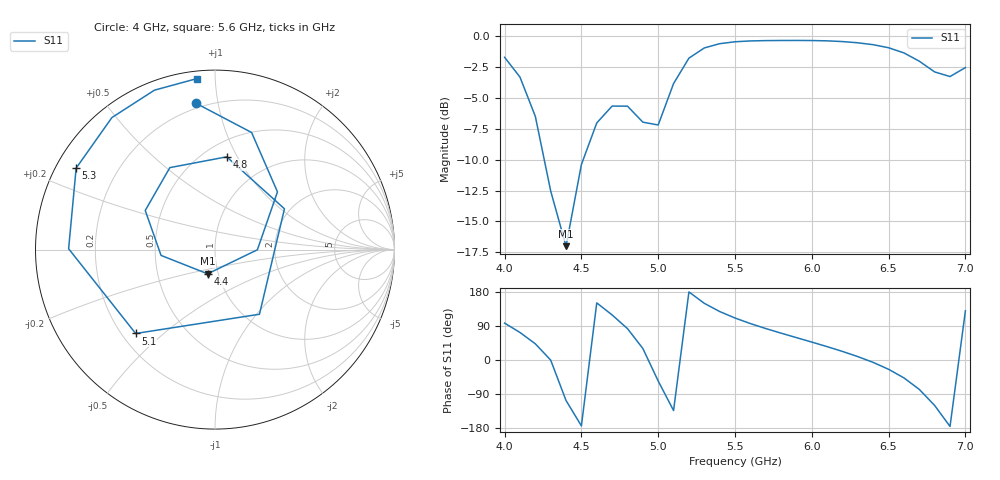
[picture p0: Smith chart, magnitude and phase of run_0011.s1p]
! Touchstone file exported from HFSS 2024.2.0
!  File:  C:/Users/wsak9/Desktop/Sim Fast/Widenad Patch/WP_AI_V1_sweep.aedt
!  Generated:  03:10:27 PM Oct 13, 2026
!  Design:  A1_model
!  Project:  WP_AI_V1_sweep
!  Setup:  Setup1
!  Solution:  Sweep
! Variables:
!  Air_gap = 4.68mm
!  Curve_Amp1 = 2.89
!  Curve_len1 = 1
!  Curve_pos = 12.8mm
!  Extra = 2.96mm
!  H_sub = 0.79mm
!  L_Patch = 21.6mm
!  L_Patch1 = 17.75mm
!  Sx = 2.32mm
!  Sy = 1.04mm
!  WS = 0.41mm
!  W_Patch = 10.42mm
!  W_Patch1 = 14.79mm
!Data is not renormalized
# GHz S MA
! Terminal data exported
! Port[1] = 1
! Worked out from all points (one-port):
!   31 points, 4 GHz to 7 GHz, reference per port
!   lowest |S11| = -17.0 dB at 4.4 GHz (marker M1), VSWR 1.33
!   |S11| at or under -10 dB: 4.258 GHz to 4.512 GHz (253.5 MHz wide, 5.78 % of centre)
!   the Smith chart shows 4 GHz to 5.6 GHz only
!   S11 on the Smith chart (normalised r, x): 4 GHz: 0.17, +0.86; 4.4 GHz: 0.89, -0.24; 4.8 GHz: 0.64, +0.91; 5.1 GHz: 0.26, -0.41; 5.3 GHz: 0.06, +0.27; 5.6 GHz: 0.04, +0.90
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4  0.8219 97.4
4.1  0.6836 72.6
4.2  0.4739 42.7
4.3  0.2361 -0.3
4.4  0.1411 -106.9
4.5  0.3023 -173.8
4.6  0.4457 150.7
4.7  0.5214 118.9
4.8  0.521 82.8
4.9  0.4488 30.4
5  0.4371 -55.5
5.1  0.6433 -133.4
5.2  0.8155 179.7
5.3  0.8969 149.6
5.4  0.9334 128.0
5.5  0.9502 110.8
5.6  0.9577 96.2
5.7  0.9606 83.0
5.9  0.9619 59.0
6.1  0.9584 35.2
6.3  0.9411 8.9
6.4  0.9246 -6.4
6.5  0.8985 -24.5
6.6  0.8564 -47.2
6.7  0.7925 -77.6
6.8  0.7171 -120.1
6.9  0.6869 -175.4
7  0.7469 129.7
